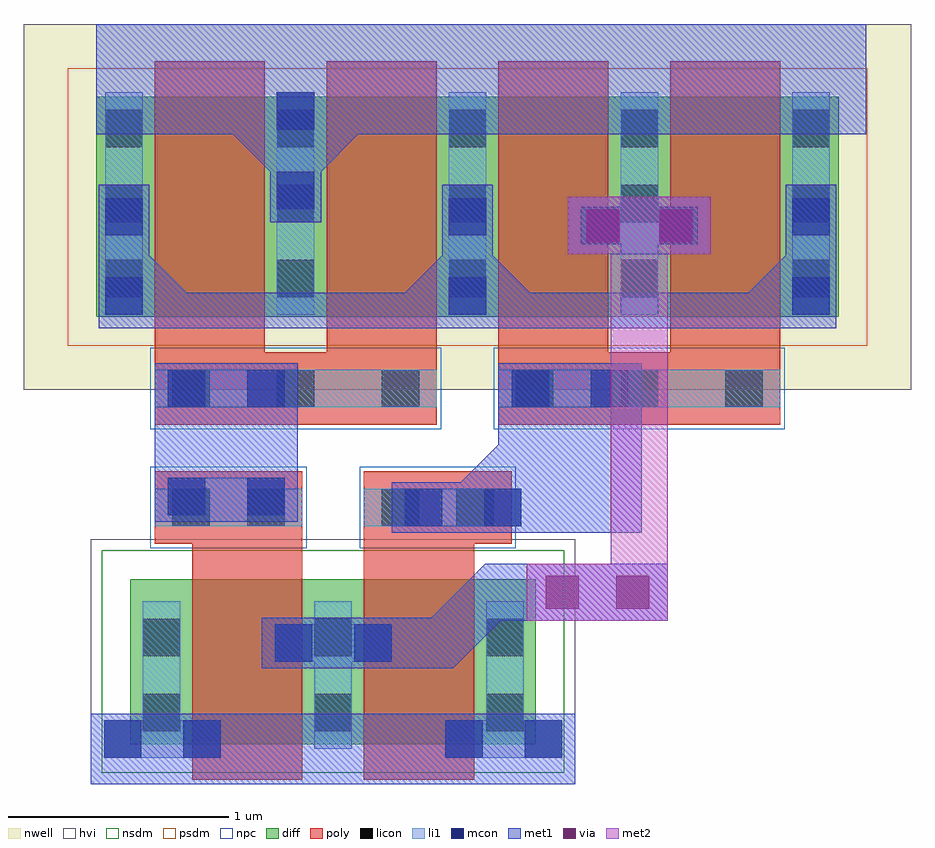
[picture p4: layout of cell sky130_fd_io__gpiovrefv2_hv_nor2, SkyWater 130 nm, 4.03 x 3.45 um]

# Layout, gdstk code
from math import pi, radians
import gdstk
lib = gdstk.Library(unit=1e-6, precision=1e-09)
def R(c, l, rs):  # rectangles x0, y0, x1, y1
    for r in rs: c.add(gdstk.rectangle(r[:2], r[2:], *l))
def A(c, l, x, y, w, h, nx, ny, dx, dy):  # array of equal rectangles
    R(c, l, [(x+i*dx, y+j*dy, x+i*dx+w, y+j*dy+h) for i in range(nx) for j in range(ny)])
def P(c, l, *ps):  # polygons
    for p in ps: c.add(gdstk.Polygon(p, *l))
nwell = (64, 20)
diff = (65, 20)
poly = (66, 20)
licon = (66, 44)
li1 = (67, 20)
mcon = (67, 44)
met1 = (68, 20)
via = (68, 44)
met2 = (69, 20)
hvi = (75, 20)
nsdm = (93, 44)
psdm = (94, 20)
npc = (95, 20)

dfl1sd2_cdns_52468879185 = lib.new_cell('DFL1sd2_CDNS_52468879185246')
R(dfl1sd2_cdns_52468879185, diff, [(0,0,0.28,0.75)])
R(dfl1sd2_cdns_52468879185, licon, [(0.055,0.06,0.225,0.23), (0.055,0.4,0.225,0.57)])
R(dfl1sd2_cdns_52468879185, li1, [(0.055,-0.02,0.225,0.65)])
R(dfl1sd2_cdns_52468879185, nsdm, [(-0.13,-0.13,0.41,0.88)])

nfet_cdns_52468879185814 = lib.new_cell('nfet_CDNS_52468879185814')
R(nfet_cdns_52468879185814, diff, [(-0.25,0,0,0.75), (0,0,0.5,0.75), (0.5,0,0.75,0.75)])
R(nfet_cdns_52468879185814, poly, [(0,-0.16,0.5,0), (0,-0.16,0.5,0.91), (0,0.75,0.5,0.91)])
R(nfet_cdns_52468879185814, li1, [(-0.225,-0.02,-0.055,0.65), (0.555,-0.02,0.725,0.65)])
R(nfet_cdns_52468879185814, hvi, [(-0.46,-0.18,0.96,0.93)])
R(nfet_cdns_52468879185814, nsdm, [(-0.25,-0.13,0.75,0.88)])
nfet_cdns_52468879185814.add(gdstk.Reference(dfl1sd2_cdns_52468879185, (0.5,0)))
nfet_cdns_52468879185814.add(gdstk.Reference(dfl1sd2_cdns_52468879185, (0,0), rotation=pi, x_reflection=True))
nfet_cdns_52468879185814.add(gdstk.Label('S', (-0.14,0.315), layer=83, texttype=44))
nfet_cdns_52468879185814.add(gdstk.Label('D', (0.64,0.315), layer=83, texttype=44))

c_dfl1sd2_cdns_52468879185 = lib.new_cell('DFL1sd2_CDNS_52468879185419')
R(c_dfl1sd2_cdns_52468879185, nwell, [(-0.18,-0.18,0.46,1.18)])
R(c_dfl1sd2_cdns_52468879185, diff, [(0,0,0.28,1)])
A(c_dfl1sd2_cdns_52468879185, licon, 0.055, 0.06, 0.17, 0.17, 1, 3, 0, 0.34)
R(c_dfl1sd2_cdns_52468879185, li1, [(0.055,-0.02,0.225,0.99)])
R(c_dfl1sd2_cdns_52468879185, psdm, [(-0.13,-0.13,0.41,1.13)])

dfl1sd_cdns_524688791852 = lib.new_cell('DFL1sd_CDNS_5246887918529')
R(dfl1sd_cdns_524688791852, nwell, [(-0.18,-0.18,0.445,1.18)])
R(dfl1sd_cdns_524688791852, diff, [(0,0,0.265,1)])
A(dfl1sd_cdns_524688791852, licon, 0.055, 0.06, 0.17, 0.17, 1, 3, 0, 0.34)
R(dfl1sd_cdns_524688791852, li1, [(0.055,-0.02,0.225,0.99)])
R(dfl1sd_cdns_524688791852, psdm, [(-0.13,-0.13,0.395,1.13)])

pfet_cdns_52468879185703 = lib.new_cell('pfet_CDNS_52468879185703')
R(pfet_cdns_52468879185703, nwell, [(-0.595,-0.33,1.875,1.33), (-0.445,-0.18,1.725,1.18)])
R(pfet_cdns_52468879185703, diff, [(-0.25,0,0,1), (0,0,0.5,1), (0.78,0,1.28,1), (1.28,0,1.53,1)])
R(pfet_cdns_52468879185703, poly, [(0,-0.16,0.5,0), (0,-0.16,0.5,1.16), (0.78,-0.16,1.28,0), (0.78,-0.16,1.28,1.16), (0,1,0.5,1.16), (0.78,1,1.28,1.16)])
A(pfet_cdns_52468879185703, li1, -0.225, -0.02, 0.17, 1.01, 3, 1, 0.78, 0)
R(pfet_cdns_52468879185703, hvi, [(-0.595,-0.33,1.875,1.33)])
R(pfet_cdns_52468879185703, psdm, [(-0.25,-0.13,0.5,1.13), (0.53,-0.13,1.53,1.13)])
pfet_cdns_52468879185703.add(gdstk.Reference(c_dfl1sd2_cdns_52468879185, (0.5,0)))
pfet_cdns_52468879185703.add(gdstk.Reference(dfl1sd_cdns_524688791852, (1.28,0)))
pfet_cdns_52468879185703.add(gdstk.Reference(dfl1sd_cdns_524688791852, (0,0), rotation=pi, x_reflection=True))
pfet_cdns_52468879185703.add(gdstk.Label('S', (-0.14,0.485), layer=83, texttype=44))
pfet_cdns_52468879185703.add(gdstk.Label('D', (0.64,0.485), layer=83, texttype=44))
pfet_cdns_52468879185703.add(gdstk.Label('S', (1.42,0.485), layer=83, texttype=44))

sky130_fd_io__gpiovrefv2 = lib.new_cell('sky130_fd_io__gpiovrefv2_hv_nor2')
A(sky130_fd_io__gpiovrefv2, licon, 0.675, 1.71, 0.17, 0.17, 3, 1, 0.475, 0)
A(sky130_fd_io__gpiovrefv2, licon, 2.235, 1.71, 0.17, 0.17, 3, 1, 0.475, 0)
R(sky130_fd_io__gpiovrefv2, licon, [(0.675,1.17,0.845,1.34), (1.015,1.17,1.185,1.34), (1.625,1.17,1.795,1.34), (1.965,1.17,2.135,1.34)])
A(sky130_fd_io__gpiovrefv2, mcon, 0.37, 2.13, 0.17, 0.17, 3, 2, 1.56, 0.36)
R(sky130_fd_io__gpiovrefv2, mcon, [(0.365,0.12,0.535,0.29), (0.725,0.12,0.895,0.29), (1.915,0.12,2.085,0.29), (2.275,0.12,2.445,0.29), (1.14,0.555,1.31,0.725), (1.5,0.555,1.67,0.725), (1.73,1.17,1.9,1.34), (2.09,1.17,2.26,1.34), (0.655,1.22,0.825,1.39), (1.015,1.22,1.185,1.39), (0.655,1.71,0.825,1.88), (1.015,1.71,1.185,1.88), (2.215,1.71,2.385,1.88), (2.575,1.71,2.745,1.88), (2.53,2.45,2.7,2.62), (2.89,2.45,3.06,2.62), (1.15,2.61,1.32,2.78), (1.15,2.97,1.32,3.14)])
R(sky130_fd_io__gpiovrefv2, met1, [(0.305,0,2.505,0.32), (0.595,1.34,1.245,1.69)])
P(sky130_fd_io__gpiovrefv2, met1, [(3.825,3.45),(0.33,3.45),(0.33,2.95),(0.95,2.95),(1.12,2.78),(1.12,2.95),(1.35,2.95),(1.35,2.78),(1.52,2.95),(3.825,2.95)],
  [(3.675,2.23),(3.46,2.23),(3.46,2.4),(3.29,2.23),(2.3,2.23),(2.13,2.4),(2.13,2.23),(1.9,2.23),(1.9,2.4),(1.73,2.23),(0.74,2.23),(0.57,2.4),(0.57,2.23),(0.4,2.23),(0.4,2.07),(3.675,2.07)],
  [(2.885,1),(2.095,1),(1.85,0.755),(1.73,0.755),(1.73,0.525),(1.95,0.525),(2.165,0.74),(2.885,0.74)],
  [(2.805,1.91),(2.155,1.91),(2.155,1.54),(1.985,1.37),(1.67,1.37),(1.67,1.14),(2.805,1.14)])
R(sky130_fd_io__gpiovrefv2, via, [(2.37,0.795,2.52,0.945), (2.69,0.795,2.84,0.945), (2.555,2.46,2.705,2.61), (2.885,2.46,3.035,2.61)])
R(sky130_fd_io__gpiovrefv2, met2, [(2.665,0.74,2.925,2.405)])
sky130_fd_io__gpiovrefv2.add(gdstk.FlexPath([(1.545,1.255),(2.215,1.255)], 0.33, ends="flush", simple_path=True, layer=66, datatype=20))  # poly
sky130_fd_io__gpiovrefv2.add(gdstk.FlexPath([(3.435,1.795),(2.155,1.795)], 0.33, ends="flush", simple_path=True, layer=66, datatype=20))  # poly
sky130_fd_io__gpiovrefv2.add(gdstk.FlexPath([(1.875,1.795),(0.595,1.795)], 0.33, ends="flush", simple_path=True, layer=66, datatype=20))  # poly
sky130_fd_io__gpiovrefv2.add(gdstk.FlexPath([(0.595,1.255),(1.265,1.255)], 0.33, ends="flush", simple_path=True, layer=66, datatype=20))  # poly
sky130_fd_io__gpiovrefv2.add(gdstk.FlexPath([(2.215,1.795),(2.745,1.795)], 0.17, ends="flush", simple_path=True, layer=67, datatype=20))  # li1
sky130_fd_io__gpiovrefv2.add(gdstk.FlexPath([(1.73,1.255),(2.26,1.255)], 0.17, ends="flush", simple_path=True, layer=67, datatype=20))  # li1
sky130_fd_io__gpiovrefv2.add(gdstk.FlexPath([(1.875,1.795),(0.595,1.795)], 0.17, ends="flush", simple_path=True, layer=67, datatype=20))  # li1
sky130_fd_io__gpiovrefv2.add(gdstk.FlexPath([(0.655,1.305),(1.185,1.305)], 0.17, ends="flush", simple_path=True, layer=67, datatype=20))  # li1
sky130_fd_io__gpiovrefv2.add(gdstk.FlexPath([(0.655,1.795),(1.185,1.795)], 0.17, ends="flush", simple_path=True, layer=67, datatype=20))  # li1
sky130_fd_io__gpiovrefv2.add(gdstk.FlexPath([(1.545,1.255),(2.215,1.255)], 0.17, ends="flush", simple_path=True, layer=67, datatype=20))  # li1
sky130_fd_io__gpiovrefv2.add(gdstk.FlexPath([(0.595,1.255),(1.265,1.255)], 0.17, ends="flush", simple_path=True, layer=67, datatype=20))  # li1
sky130_fd_io__gpiovrefv2.add(gdstk.FlexPath([(3.06,2.535),(2.53,2.535)], 0.17, ends="flush", simple_path=True, layer=67, datatype=20))  # li1
sky130_fd_io__gpiovrefv2.add(gdstk.FlexPath([(2.015,2.13),(2.015,2.66)], 0.17, ends="flush", simple_path=True, layer=67, datatype=20))  # li1
sky130_fd_io__gpiovrefv2.add(gdstk.FlexPath([(3.435,1.795),(2.155,1.795)], 0.17, ends="flush", simple_path=True, layer=67, datatype=20))  # li1
sky130_fd_io__gpiovrefv2.add(gdstk.FlexPath([(2.445,0.205),(1.915,0.205)], 0.17, ends="flush", simple_path=True, layer=67, datatype=20))  # li1
sky130_fd_io__gpiovrefv2.add(gdstk.FlexPath([(1.67,0.64),(1.14,0.64)], 0.17, ends="flush", simple_path=True, layer=67, datatype=20))  # li1
sky130_fd_io__gpiovrefv2.add(gdstk.FlexPath([(3.575,2.13),(3.575,2.66)], 0.17, ends="flush", simple_path=True, layer=67, datatype=20))  # li1
sky130_fd_io__gpiovrefv2.add(gdstk.FlexPath([(1.235,2.61),(1.235,3.14)], 0.17, ends="flush", simple_path=True, layer=67, datatype=20))  # li1
sky130_fd_io__gpiovrefv2.add(gdstk.FlexPath([(0.895,0.205),(0.365,0.205)], 0.17, ends="flush", simple_path=True, layer=67, datatype=20))  # li1
sky130_fd_io__gpiovrefv2.add(gdstk.FlexPath([(0.455,2.13),(0.455,2.66)], 0.17, ends="flush", simple_path=True, layer=67, datatype=20))  # li1
sky130_fd_io__gpiovrefv2.add(gdstk.FlexPath([(1.525,1.255),(2.235,1.255)], 0.37, ends="flush", simple_path=True, layer=95, datatype=20))  # npc
sky130_fd_io__gpiovrefv2.add(gdstk.FlexPath([(3.455,1.795),(2.135,1.795)], 0.37, ends="flush", simple_path=True, layer=95, datatype=20))  # npc
sky130_fd_io__gpiovrefv2.add(gdstk.FlexPath([(1.895,1.795),(0.575,1.795)], 0.37, ends="flush", simple_path=True, layer=95, datatype=20))  # npc
sky130_fd_io__gpiovrefv2.add(gdstk.FlexPath([(0.575,1.255),(1.285,1.255)], 0.37, ends="flush", simple_path=True, layer=95, datatype=20))  # npc
sky130_fd_io__gpiovrefv2.add(gdstk.FlexPath([(2.925,0.87),(2.285,0.87)], 0.26, ends="flush", simple_path=True, layer=68, datatype=20))  # met1
sky130_fd_io__gpiovrefv2.add(gdstk.FlexPath([(3.12,2.535),(2.47,2.535)], 0.26, ends="flush", simple_path=True, layer=68, datatype=20))  # met1
sky130_fd_io__gpiovrefv2.add(gdstk.FlexPath([(2.155,1.795),(2.805,1.795)], 0.23, ends="flush", simple_path=True, layer=68, datatype=20))  # met1
sky130_fd_io__gpiovrefv2.add(gdstk.FlexPath([(1.67,1.255),(2.32,1.255)], 0.23, ends="flush", simple_path=True, layer=68, datatype=20))  # met1
sky130_fd_io__gpiovrefv2.add(gdstk.FlexPath([(0.955,0.205),(0.305,0.205)], 0.23, ends="flush", simple_path=True, layer=68, datatype=20))  # met1
sky130_fd_io__gpiovrefv2.add(gdstk.FlexPath([(2.505,0.205),(1.855,0.205)], 0.23, ends="flush", simple_path=True, layer=68, datatype=20))  # met1
sky130_fd_io__gpiovrefv2.add(gdstk.FlexPath([(0.595,1.305),(1.245,1.305)], 0.23, ends="flush", simple_path=True, layer=68, datatype=20))  # met1
sky130_fd_io__gpiovrefv2.add(gdstk.FlexPath([(0.595,1.795),(1.245,1.795)], 0.23, ends="flush", simple_path=True, layer=68, datatype=20))  # met1
sky130_fd_io__gpiovrefv2.add(gdstk.FlexPath([(0.455,2.07),(0.455,2.72)], 0.23, ends="flush", simple_path=True, layer=68, datatype=20))  # met1
sky130_fd_io__gpiovrefv2.add(gdstk.FlexPath([(1.73,0.64),(1.08,0.64)], 0.23, ends="flush", simple_path=True, layer=68, datatype=20))  # met1
sky130_fd_io__gpiovrefv2.add(gdstk.FlexPath([(2.015,2.07),(2.015,2.72)], 0.23, ends="flush", simple_path=True, layer=68, datatype=20))  # met1
sky130_fd_io__gpiovrefv2.add(gdstk.FlexPath([(3.575,2.07),(3.575,2.72)], 0.23, ends="flush", simple_path=True, layer=68, datatype=20))  # met1
sky130_fd_io__gpiovrefv2.add(gdstk.FlexPath([(3.12,2.535),(2.47,2.535)], 0.23, ends="flush", simple_path=True, layer=68, datatype=20))  # met1
sky130_fd_io__gpiovrefv2.add(gdstk.FlexPath([(1.235,2.55),(1.235,3.2)], 0.23, ends="flush", simple_path=True, layer=68, datatype=20))  # met1
sky130_fd_io__gpiovrefv2.add(gdstk.FlexPath([(2.925,0.87),(2.285,0.87)], 0.26, ends="flush", simple_path=True, layer=69, datatype=20))  # met2
sky130_fd_io__gpiovrefv2.add(gdstk.FlexPath([(3.12,2.535),(2.47,2.535)], 0.26, ends="flush", simple_path=True, layer=69, datatype=20))  # met2
sky130_fd_io__gpiovrefv2.add(gdstk.Reference(nfet_cdns_52468879185814, (0.765,0.18)))
sky130_fd_io__gpiovrefv2.add(gdstk.Reference(nfet_cdns_52468879185814, (0.765,0.18)))
sky130_fd_io__gpiovrefv2.add(gdstk.Reference(nfet_cdns_52468879185814, (1.545,0.18)))
sky130_fd_io__gpiovrefv2.add(gdstk.Reference(pfet_cdns_52468879185703, (2.155,3.12), x_reflection=True))
sky130_fd_io__gpiovrefv2.add(gdstk.Reference(pfet_cdns_52468879185703, (0.595,3.12), x_reflection=True))

lib.write_gds('sky130_fd_io__gpiovrefv2_hv_nor2.gds')
